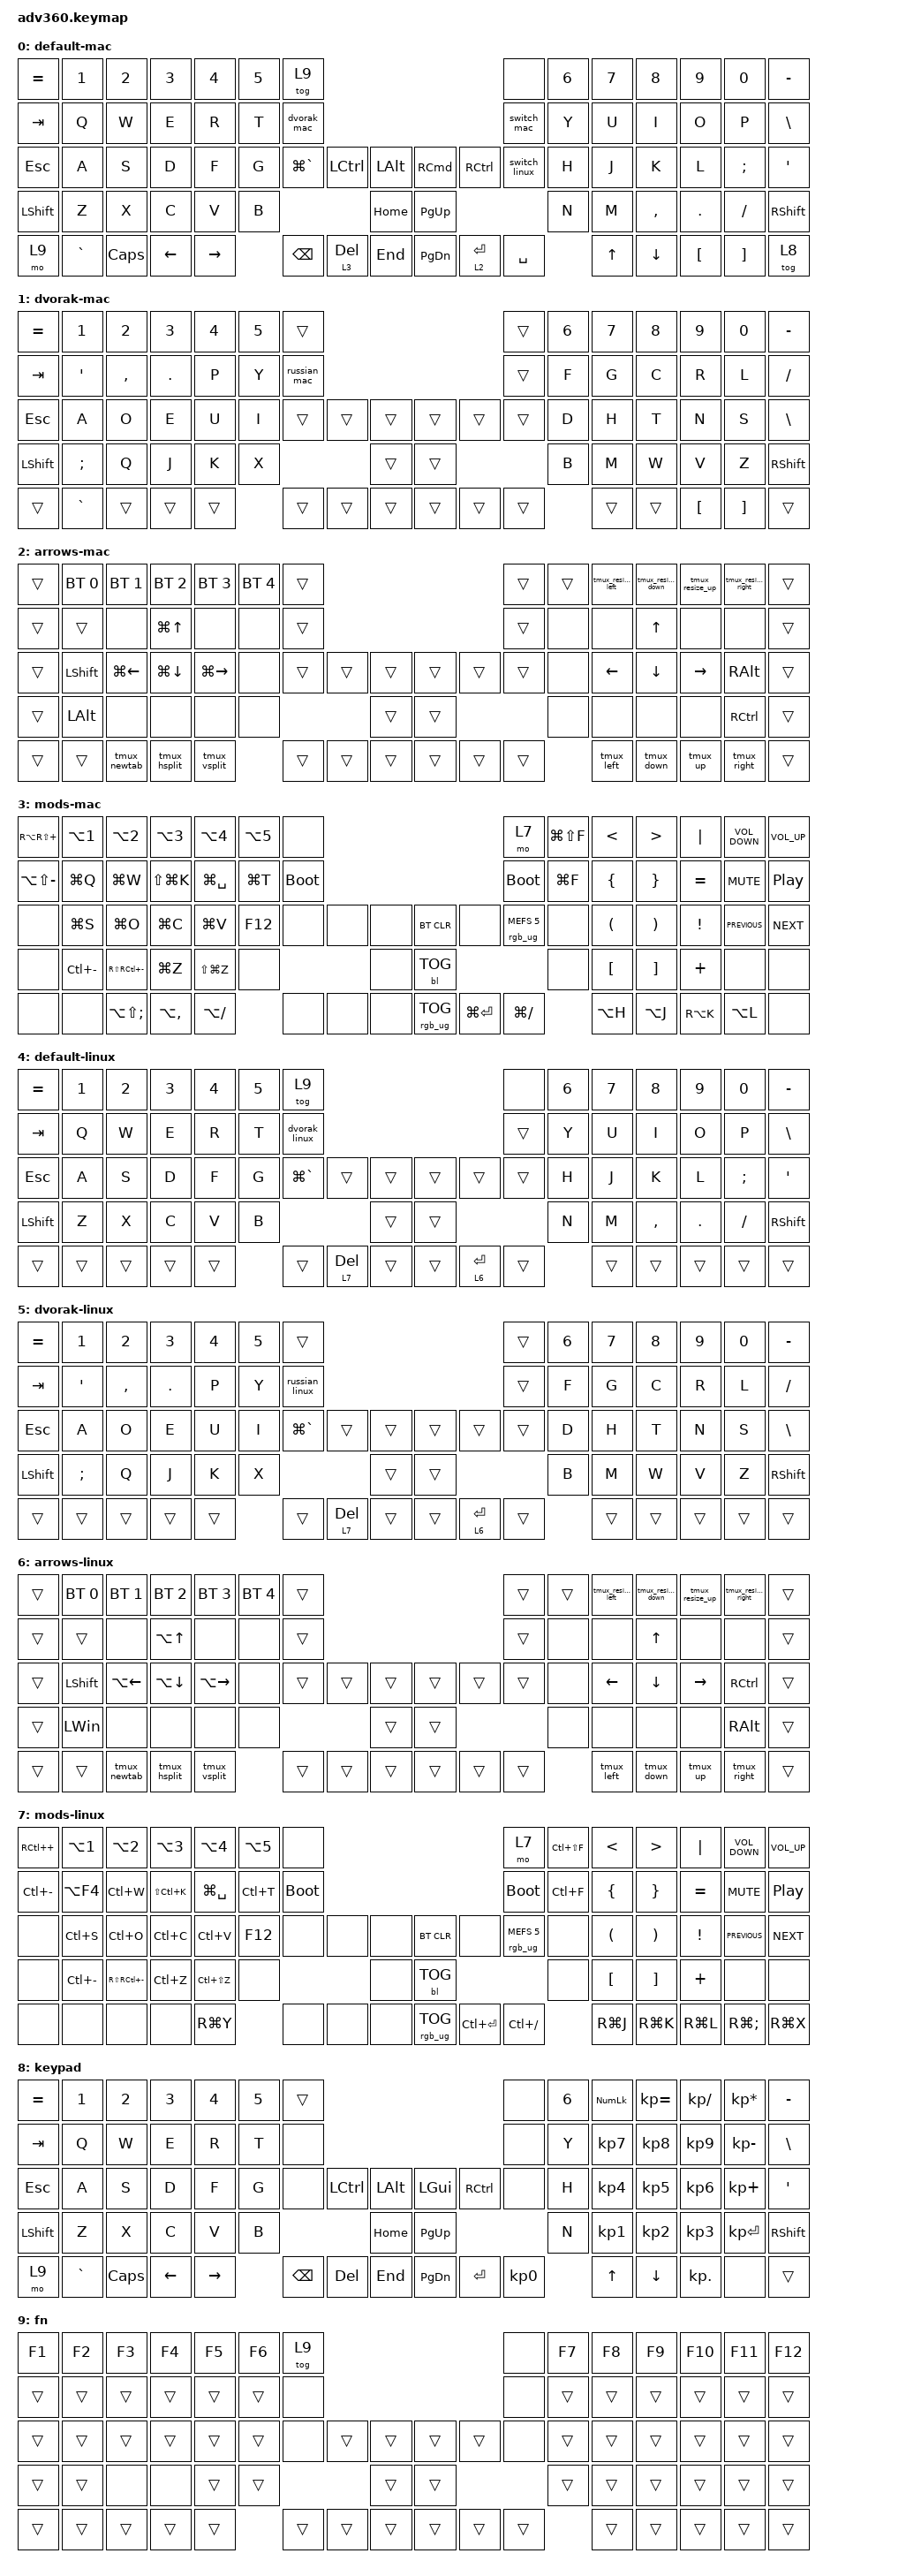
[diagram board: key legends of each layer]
/*
 * Copyright (c) 2020 The ZMK Contributors
 *
 * SPDX-License-Identifier: MIT
 */
/* Platform-Specific Configuration for Advantage 360 Pro
 *
 * This keymap implements dual-platform support for Linux and macOS.
 * It includes separate mod layers for each platform with appropriate
 * modifier key bindings for common shortcuts.
 *
 * Layer Structure:
 * 0: Base QWERTY
 * 1: Dvorak
 * 2: Keypad
 * 3: Function Keys
 * 4: Mod Layer - Mac (default)
 * 5: Arrows & TMUX
 * 6: Mod Layer - Linux
 */

#include <behaviors.dtsi>
#include <dt-bindings/zmk/backlight.h>
#include <dt-bindings/zmk/bt.h>
#include <dt-bindings/zmk/keys.h>
#include <dt-bindings/zmk/rgb.h>

/ {
    behaviors {
        #include "macros.dtsi"
    #include "version.dtsi"

        // Platform-aware mod key: tap for Mac layer, hold for Linux layer
    };

    macros {
        dvorak_mac: dvorak {
            compatible = "zmk,behavior-macro";
            #binding-cells = <0>;
            bindings = <&to 1 &kp LC(SPACE)>;
            label = "DVORAK";
        };

        russian_mac: russian {
            compatible = "zmk,behavior-macro";
            #binding-cells = <0>;
            bindings = <&to 0 &kp RC(SPACE)>;
            label = "RUSSIAN";
        };

        tmux_left: tmux_left {
            compatible = "zmk,behavior-macro";
            #binding-cells = <0>;
            bindings = <&kp RC(A) &kp H>;
            label = "TMUX_LEFT";
        };

        tmux_right: tmux_right {
            compatible = "zmk,behavior-macro";
            #binding-cells = <0>;
            bindings = <&kp RC(A) &kp N>;
            label = "TMUX_RIGHT";
        };

        tmux_up: tmux_up {
            compatible = "zmk,behavior-macro";
            #binding-cells = <0>;
            bindings = <&kp RC(A) &kp C>;
            label = "TMUX_UP";
        };

        tmux_down: tmux_down {
            compatible = "zmk,behavior-macro";
            #binding-cells = <0>;
            bindings = <&kp RC(A) &kp T>;
            label = "TMUX_DOWN";
        };

        tmux_vsplit: tmux_vsplit {
            compatible = "zmk,behavior-macro";
            #binding-cells = <0>;
            bindings = <&kp RC(A) &kp PERIOD>;
            label = "TMUX_VSPLIT";
        };

        tmux_hsplit: tmux_hsplit {
            compatible = "zmk,behavior-macro";
            #binding-cells = <0>;
            bindings = <&kp RC(A) &kp P>;
            label = "TMUX_HSPLIT";
        };

        tmux_newtab: tmux_newtab {
            compatible = "zmk,behavior-macro";
            #binding-cells = <0>;
            bindings = <&kp RC(A) &kp Y>;
            label = "TMUX_NEWTAB";
        };

        tmux_resize_left: tmux_resize_left {
            compatible = "zmk,behavior-macro";
            #binding-cells = <0>;
            bindings = <&kp RC(A) &kp RC(H)>;
            label = "TMUX_RESIZE_LEFT";
        };

        tmux_resize_right: tmux_resize_right {
            compatible = "zmk,behavior-macro";
            #binding-cells = <0>;
            bindings = <&kp RC(A) &kp RC(N)>;
            label = "TMUX_RESIZE_RIGHT";
        };

        tmux_resize_up: tmux_resize_up {
            compatible = "zmk,behavior-macro";
            #binding-cells = <0>;
            bindings = <&kp RC(A) &kp RC(C)>;
            label = "TMUX_RESIZE_UP";
        };

        tmux_resize_down: tmux_resize_down {
            compatible = "zmk,behavior-macro";
            #binding-cells = <0>;
            bindings = <&kp RC(A) &kp RC(T)>;
            label = "TMUX_RESIZE_DOWN";
        };

        // Platform switching macros

        switch_linux: switch_linux {
            compatible = "zmk,behavior-macro";
            #binding-cells = <0>;
            bindings = <&to 4>;  // Base layer will use Linux mod layer 6 when &mo 6 is pressed
            label = "SWITCH_LINUX";
        };

        switch_mac: switch_mac {
            compatible = "zmk,behavior-macro";
            #binding-cells = <0>;
            bindings = <&to 0>;
            label = "SWITCH_MAC";
        };

        dvorak_linux: dvorak_linux {
            compatible = "zmk,behavior-macro";
            #binding-cells = <0>;
            bindings = <&to 5 &kp LC(LA(LS(LG(NUMBER_1))))>;
            label = "DVORAK_LINUX";
        };

        russian_linux: russian_linux {
            compatible = "zmk,behavior-macro";
            #binding-cells = <0>;
            bindings = <&to 4 &kp RC(RG(RA(RS(NUMBER_2))))>;
            label = "RUSSIAN_LINUX";
        };
    };

    keymap {
        compatible = "zmk,keymap";

        default-mac {
            bindings = <
&kp EQUAL  &kp N1     &kp N2    &kp N3    &kp N4     &kp N5  &tog 9                                                                     &none          &kp N6  &kp N7  &kp N8     &kp N9    &kp N0    &kp MINUS
&kp TAB    &kp Q      &kp W     &kp E     &kp R      &kp T   &dvorak_mac                                                                &switch_mac    &kp Y   &kp U   &kp I      &kp O     &kp P     &kp BSLH
&kp ESC    &kp A      &kp S     &kp D     &kp F      &kp G   &kp LG(GRAVE)  &kp LCTRL     &kp LALT      &kp RIGHT_COMMAND  &kp RCTRL    &switch_linux  &kp H   &kp J   &kp K      &kp L     &kp SEMI  &kp SQT
&kp LSHFT  &kp Z      &kp X     &kp C     &kp V      &kp B                                &kp HOME      &kp PG_UP                                      &kp N   &kp M   &kp COMMA  &kp DOT   &kp FSLH  &kp RSHFT
&mo 9      &kp GRAVE  &kp CAPS  &kp LEFT  &kp RIGHT          &kp BACKSPACE  &lt 3 DELETE  &kp END       &kp PAGE_DOWN      &lt 2 ENTER  &kp SPACE              &kp UP  &kp DOWN   &kp LBKT  &kp RBKT  &tog 8
            >;
        };

        dvorak-mac {
            bindings = <
&kp EQUAL  &kp N1     &kp N2     &kp N3   &kp N4  &kp N5  &trans                                            &trans  &kp N6  &kp N7  &kp N8  &kp N9    &kp N0    &kp MINUS
&kp TAB    &kp APOS   &kp COMMA  &kp DOT  &kp P   &kp Y   &russian_mac                                      &trans  &kp F   &kp G   &kp C   &kp R     &kp L     &kp FSLH
&kp ESC    &kp A      &kp O      &kp E    &kp U   &kp I   &trans        &trans  &trans      &trans  &trans  &trans  &kp D   &kp H   &kp T   &kp N     &kp S     &kp BSLH
&kp LSHFT  &kp SEMI   &kp Q      &kp J    &kp K   &kp X                         &trans      &trans                  &kp B   &kp M   &kp W   &kp V     &kp Z     &kp RSHFT
&trans     &kp GRAVE  &trans     &trans   &trans          &trans        &trans  &trans      &trans  &trans  &trans          &trans  &trans  &kp LBKT  &kp RBKT  &trans
            >;
        };

        arrows-mac {
            bindings = <
&trans  &bt BT_SEL 0    &bt BT_SEL 1  &bt BT_SEL 2      &bt BT_SEL 3   &bt BT_SEL 4  &trans                                      &trans  &trans  &tmux_resize_left  &tmux_resize_down  &tmux_resize_up  &tmux_resize_right  &trans
&trans  &trans          &none         &kp LG(UP_ARROW)  &none          &none         &trans                                      &trans  &none   &none              &kp UP_ARROW       &none            &none               &trans
&trans  &kp LEFT_SHIFT  &kp LG(LEFT)  &kp LG(DOWN)      &kp LG(RIGHT)  &none         &trans  &trans  &trans      &trans  &trans  &trans  &none   &kp LEFT           &kp DOWN           &kp RIGHT        &kp RIGHT_ALT       &trans
&trans  &kp LEFT_ALT    &none         &none             &none          &none                         &trans      &trans                  &none   &none              &none              &none            &kp RIGHT_CONTROL   &trans
&trans  &trans          &tmux_newtab  &tmux_hsplit      &tmux_vsplit                 &trans  &trans  &trans      &trans  &trans  &trans          &tmux_left         &tmux_down         &tmux_up         &tmux_right         &trans
            >;
        };

        mods-mac {
            // Mac-specific shortcuts (Cmd-based)

            bindings = <
&kp RA(RS(PLUS))   &kp LA(NUMBER_1)  &kp LA(NUMBER_2)   &kp LA(NUMBER_3)  &kp LA(NUMBER_4)  &kp LA(NUMBER_5)  &none                                                          &mo 7                   &kp LG(LS(F))  &kp LESS_THAN         &kp GREATER_THAN       &kp PIPE         &kp C_VOLUME_DOWN  &kp C_VOLUME_UP
&kp LA(LS(MINUS))  &kp LG(Q)         &kp LG(W)          &kp LS(LG(K))     &kp LG(SPACE)     &kp LG(T)         &bootloader                                                    &bootloader             &kp LG(F)      &kp LEFT_BRACE        &kp RIGHT_BRACE        &kp EQUAL        &kp C_MUTE         &kp C_PLAY_PAUSE
&none              &kp LG(S)         &kp LG(O)          &kp LG(C)         &kp LG(V)         &kp F12           &none        &none  &none      &bt BT_CLR       &none          &rgb_ug RGB_MEFS_CMD 5  &none          &kp LEFT_PARENTHESIS  &kp RIGHT_PARENTHESIS  &kp EXCLAMATION  &kp C_PREVIOUS     &kp C_NEXT
&none              &kp LC(MINUS)     &kp RS(RC(MINUS))  &kp LG(Z)         &kp LS(LG(Z))     &none                                 &none      &bl BL_TOG                                              &none          &kp LEFT_BRACKET      &kp RIGHT_BRACKET      &kp PLUS         &none              &none
&none              &none             &kp LA(LS(SEMI))   &kp LA(COMMA)     &kp LA(SLASH)                       &none        &none  &none      &rgb_ug RGB_TOG  &kp LG(ENTER)  &kp LG(SLASH)                          &kp LA(H)             &kp LA(J)              &kp RA(K)        &kp LA(L)          &none
            >;
        };

        default-linux {
            bindings = <
&kp EQUAL  &kp N1  &kp N2  &kp N3  &kp N4  &kp N5  &tog 9                                                        &none   &kp N6  &kp N7  &kp N8     &kp N9   &kp N0    &kp MINUS
&kp TAB    &kp Q   &kp W   &kp E   &kp R   &kp T   &dvorak_linux                                                 &trans  &kp Y   &kp U   &kp I      &kp O    &kp P     &kp BSLH
&kp ESC    &kp A   &kp S   &kp D   &kp F   &kp G   &kp LG(GRAVE)  &trans        &trans      &trans  &trans       &trans  &kp H   &kp J   &kp K      &kp L    &kp SEMI  &kp SQT
&kp LSHFT  &kp Z   &kp X   &kp C   &kp V   &kp B                                &trans      &trans                       &kp N   &kp M   &kp COMMA  &kp DOT  &kp FSLH  &kp RSHFT
&trans     &trans  &trans  &trans  &trans          &trans         &lt 7 DELETE  &trans      &trans  &lt 6 ENTER  &trans          &trans  &trans     &trans   &trans    &trans
            >;
        };

        dvorak-linux {
            bindings = <
&kp EQUAL  &kp N1    &kp N2     &kp N3   &kp N4  &kp N5  &trans                                                         &trans  &kp N6  &kp N7  &kp N8  &kp N9  &kp N0  &kp MINUS
&kp TAB    &kp APOS  &kp COMMA  &kp DOT  &kp P   &kp Y   &russian_linux                                                 &trans  &kp F   &kp G   &kp C   &kp R   &kp L   &kp FSLH
&kp ESC    &kp A     &kp O      &kp E    &kp U   &kp I   &kp LG(GRAVE)   &trans        &trans      &trans  &trans       &trans  &kp D   &kp H   &kp T   &kp N   &kp S   &kp BSLH
&kp LSHFT  &kp SEMI  &kp Q      &kp J    &kp K   &kp X                                 &trans      &trans                       &kp B   &kp M   &kp W   &kp V   &kp Z   &kp RSHFT
&trans     &trans    &trans     &trans   &trans          &trans          &lt 7 DELETE  &trans      &trans  &lt 6 ENTER  &trans          &trans  &trans  &trans  &trans  &trans
            >;
        };

        arrows-linux {
            bindings = <
&trans  &bt BT_SEL 0    &bt BT_SEL 1  &bt BT_SEL 2      &bt BT_SEL 3   &bt BT_SEL 4  &trans                                      &trans  &trans  &tmux_resize_left  &tmux_resize_down  &tmux_resize_up  &tmux_resize_right  &trans
&trans  &trans          &none         &kp LA(UP_ARROW)  &none          &none         &trans                                      &trans  &none   &none              &kp UP_ARROW       &none            &none               &trans
&trans  &kp LEFT_SHIFT  &kp LA(LEFT)  &kp LA(DOWN)      &kp LA(RIGHT)  &none         &trans  &trans  &trans      &trans  &trans  &trans  &none   &kp LEFT           &kp DOWN           &kp RIGHT        &kp RCTRL           &trans
&trans  &kp LEFT_WIN    &none         &none             &none          &none                         &trans      &trans                  &none   &none              &none              &none            &kp RIGHT_ALT       &trans
&trans  &trans          &tmux_newtab  &tmux_hsplit      &tmux_vsplit                 &trans  &trans  &trans      &trans  &trans  &trans          &tmux_left         &tmux_down         &tmux_up         &tmux_right         &trans
            >;
        };

        mods-linux {
            // Linux-specific shortcuts (Ctrl-based)

            bindings = <
&kp RC(PLUS)   &kp LA(NUMBER_1)  &kp LA(NUMBER_2)   &kp LA(NUMBER_3)  &kp LA(NUMBER_4)  &kp LA(NUMBER_5)  &none                                                          &mo 7                   &kp LC(LS(F))  &kp LESS_THAN         &kp GREATER_THAN       &kp PIPE         &kp C_VOLUME_DOWN  &kp C_VOLUME_UP
&kp LC(MINUS)  &kp LA(F4)        &kp LC(W)          &kp LS(LC(K))     &kp LG(SPACE)     &kp LC(T)         &bootloader                                                    &bootloader             &kp LC(F)      &kp LEFT_BRACE        &kp RIGHT_BRACE        &kp EQUAL        &kp C_MUTE         &kp C_PLAY_PAUSE
&none          &kp LC(S)         &kp LC(O)          &kp LC(C)         &kp LC(V)         &kp F12           &none        &none  &none      &bt BT_CLR       &none          &rgb_ug RGB_MEFS_CMD 5  &none          &kp LEFT_PARENTHESIS  &kp RIGHT_PARENTHESIS  &kp EXCLAMATION  &kp C_PREVIOUS     &kp C_NEXT
&none          &kp LC(MINUS)     &kp RS(RC(MINUS))  &kp LC(Z)         &kp LC(LS(Z))     &none                                 &none      &bl BL_TOG                                              &none          &kp LEFT_BRACKET      &kp RIGHT_BRACKET      &kp PLUS         &none              &none
&none          &none             &none              &none             &kp RG(Y)                           &none        &none  &none      &rgb_ug RGB_TOG  &kp LC(ENTER)  &kp LC(SLASH)                          &kp RG(J)             &kp RG(K)              &kp RG(L)        &kp RG(SEMI)       &kp RG(X)
            >;
        };

        keypad {
            bindings = <
&kp EQUAL  &kp N1     &kp N2    &kp N3    &kp N4     &kp N5  &trans                                                   &none      &kp N6  &kp KP_NUM  &kp KP_EQUAL  &kp KP_DIVIDE  &kp KP_MULTIPLY  &kp MINUS
&kp TAB    &kp Q      &kp W     &kp E     &kp R      &kp T   &none                                                    &none      &kp Y   &kp KP_N7   &kp KP_N8     &kp KP_N9      &kp KP_MINUS     &kp BSLH
&kp ESC    &kp A      &kp S     &kp D     &kp F      &kp G   &none     &kp LCTRL  &kp LALT      &kp LGUI   &kp RCTRL  &none      &kp H   &kp KP_N4   &kp KP_N5     &kp KP_N6      &kp KP_PLUS      &kp SQT
&kp LSHFT  &kp Z      &kp X     &kp C     &kp V      &kp B                        &kp HOME      &kp PG_UP                        &kp N   &kp KP_N1   &kp KP_N2     &kp KP_N3      &kp KP_ENTER     &kp RSHFT
&mo 9      &kp GRAVE  &kp CAPS  &kp LEFT  &kp RIGHT          &kp BSPC  &kp DEL    &kp END       &kp PG_DN  &kp ENTER  &kp KP_N0          &kp UP      &kp DOWN      &kp KP_DOT     &none            &trans
            >;
        };

        fn {
            bindings = <
&kp F1  &kp F2  &kp F3  &kp F4  &kp F5  &kp F6  &tog 9                                      &none   &kp F7  &kp F8  &kp F9  &kp F10  &kp F11  &kp F12
&trans  &trans  &trans  &trans  &trans  &trans  &none                                       &none   &trans  &trans  &trans  &trans   &trans   &trans
&trans  &trans  &trans  &trans  &trans  &trans  &none   &trans  &trans      &trans  &trans  &none   &trans  &trans  &trans  &trans   &trans   &trans
&trans  &trans  &none   &none   &trans  &trans                  &trans      &trans                  &trans  &trans  &trans  &trans   &trans   &trans
&trans  &trans  &trans  &trans  &trans          &trans  &trans  &trans      &trans  &trans  &trans          &trans  &trans  &trans   &trans   &trans
            >;
        };
    };

    conditional_layers { compatible = "zmk,conditional-layers"; };
};
